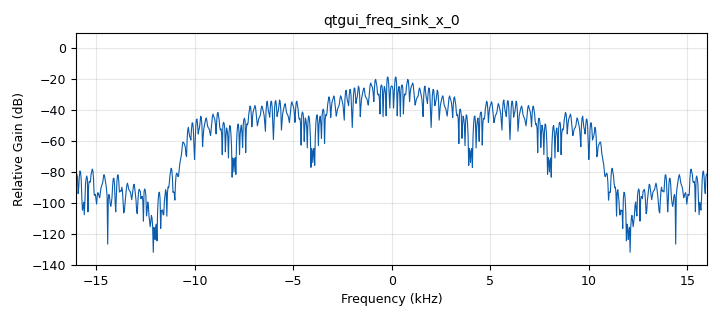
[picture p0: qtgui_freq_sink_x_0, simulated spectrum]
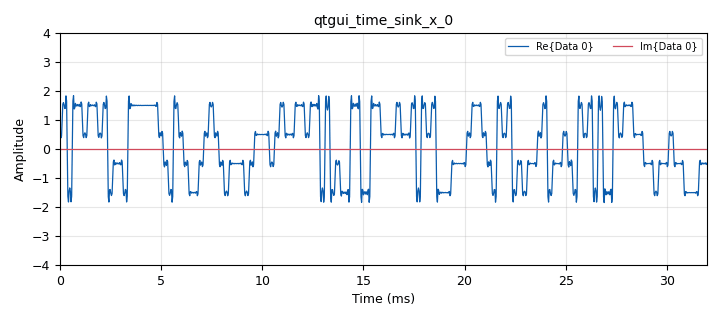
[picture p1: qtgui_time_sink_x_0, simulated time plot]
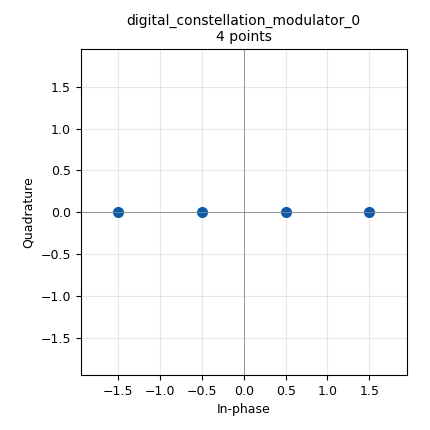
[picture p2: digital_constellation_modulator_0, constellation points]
options:
  parameters:
    author: root
    generate_options: qt_gui
    id: pam_generator
    output_language: python
    title: Not titled yet
  states: {}

blocks:
- name: pam4
  id: variable_constellation
  parameters:
    const_points: '[-3, -1, 1, 3]'
    dims: '1'
    normalization: digital.constellation.AMPLITUDE_NORMALIZATION
    precision: '8'
    rot_sym: '4'
    sym_map: '[0, 1, 3, 2]'
    type: calcdist
  states: {}
- name: samp_rate
  id: variable
  parameters:
    value: '32000'
  states: {}
- name: analog_random_source_x_0
  id: analog_random_source_x
  parameters:
    max: '3'
    min: '0'
    num_samps: '1000'
    repeat: 'True'
    type: byte
  states: {}
- name: digital_constellation_modulator_0
  id: digital_constellation_modulator
  parameters:
    constellation: pam4
    differential: 'True'
    excess_bw: '0.35'
    samples_per_symbol: '2'
  states: {}
- name: qtgui_freq_sink_x_0
  id: qtgui_freq_sink_x
  parameters:
    bw: samp_rate
    fc: '0'
    fftsize: '1024'
    type: complex
  states: {}
- name: qtgui_time_sink_x_0
  id: qtgui_time_sink_x
  parameters:
    size: '1024'
    srate: samp_rate
    type: complex
    ymax: '4'
    ymin: '-4'
  states: {}

connections:
- [analog_random_source_x_0, '0', digital_constellation_modulator_0, '0']
- [digital_constellation_modulator_0, '0', qtgui_freq_sink_x_0, '0']
- [digital_constellation_modulator_0, '0', qtgui_time_sink_x_0, '0']

metadata:
  file_format: 1
  grc_version: v3.10.9.2-39-gcf065ee5
